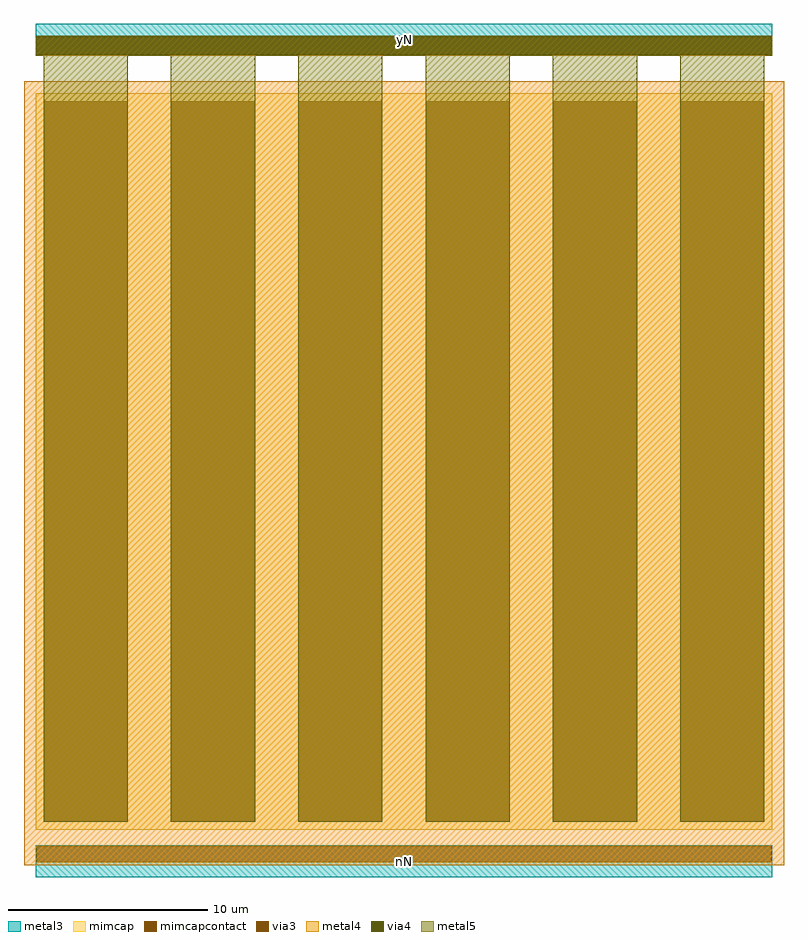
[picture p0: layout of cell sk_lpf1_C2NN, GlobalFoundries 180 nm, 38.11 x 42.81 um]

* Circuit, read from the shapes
.subckt sk_lpf1_C2NN yN nN
XC1 yN nN cap_mim_2f0fF c_width=36.91u c_length=36.91u
.ends

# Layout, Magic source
magic
tech gf180mcuD
magscale 1 10
<< metal3 >>
rect 0 -340 7382 -160
rect 0 7762 7382 7962
rect 0 7762 7382 8082
rect 0 7762 7382 8082
rect 0 -480 7382 -160
rect 0 -480 7382 -160
<< metal4 >>
rect -120 -360 7502 7502
rect 0 -340 7382 -160
rect 0 7762 7382 7962
rect 0 7762 7382 7962
<< mimcap >>
rect 0 0 7382 7382
<< metal5 >>
rect 78 78 922 7862
rect 1354 78 2198 7862
rect 2631 78 3475 7862
rect 3907 78 4751 7862
rect 5184 78 6028 7862
rect 6460 78 7304 7862
rect 0 7762 7382 7962
rect 0 7762 7382 7962
<< via3 >>
rect 10 -330 7372 -170
rect 10 7772 7372 7952
<< via4 >>
rect 10 7772 7372 7952
<< mimcapcontact >>
rect 78 78 922 7304
rect 1354 78 2198 7304
rect 2631 78 3475 7304
rect 3907 78 4751 7304
rect 5184 78 6028 7304
rect 6460 78 7304 7304
<< labels >>
flabel metal3 s 0 7762 7382 8082 0 FreeSans 80 0 0 0 yN
port 1 nsew signal bidirectional
flabel metal3 s 0 -480 7382 -160 0 FreeSans 80 0 0 0 nN
port 2 nsew signal bidirectional
<< end >>
